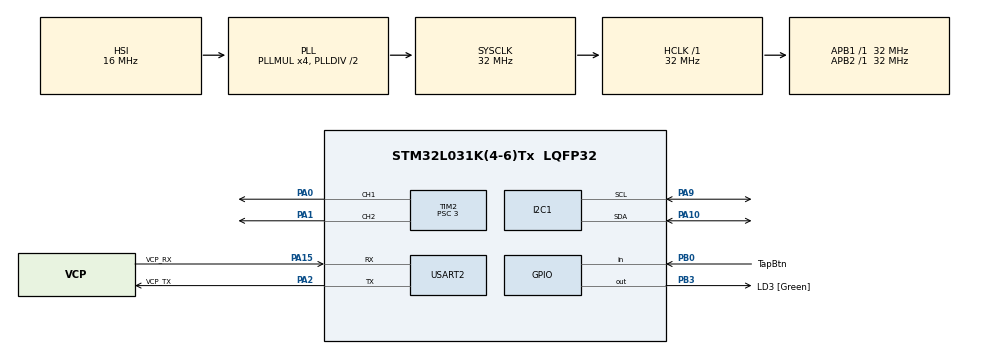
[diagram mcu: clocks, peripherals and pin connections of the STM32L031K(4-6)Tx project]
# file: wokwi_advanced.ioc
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I2C1.Timing=0x00B07CB4
Mcu.Family=STM32L0
Mcu.Name=STM32L031K(4-6)Tx
Mcu.Package=LQFP32
PA0-CK_IN.Signal=S_TIM2_CH1
PA1.Signal=S_TIM2_CH2
PA10.GPIO_Pu=GPIO_PULLUP
PA10.Mode=I2C
PA10.Signal=I2C1_SDA
PA13.GPIO_Label=TMS
PA13.Mode=Serial_Wire
PA13.Signal=SYS_SWDIO
PA14.GPIO_Label=TCK
PA14.Mode=Serial_Wire
PA14.Signal=SYS_SWCLK
PA15.GPIO_Label=VCP_RX
PA15.Mode=Asynchronous
PA15.Signal=USART2_RX
PA2.GPIO_Label=VCP_TX
PA2.Mode=Asynchronous
PA2.Signal=USART2_TX
PA9.GPIO_Pu=GPIO_PULLUP
PA9.Mode=I2C
PA9.Signal=I2C1_SCL
PB0.GPIO_Label=TapBtn
PB0.GPIO_PuPd=GPIO_PULLUP
PB0.Signal=GPIO_Input
PB3.GPIO_Label=LD3 [Green]
PB3.Signal=GPIO_Output
PC14-OSC32_IN.Mode=LSE-External-Oscillator
PC14-OSC32_IN.Signal=RCC_OSC32_IN
PC15-OSC32_OUT.Mode=LSE-External-Oscillator
PC15-OSC32_OUT.Signal=RCC_OSC32_OUT
ProjectManager.HeapSize=0x200
ProjectManager.StackSize=0x400
ProjectManager.TargetToolchain=Makefile
RCC.AHBFreq_Value=32000000
RCC.APB1Freq_Value=32000000
RCC.APB1TimFreq_Value=32000000
RCC.APB2Freq_Value=32000000
RCC.APB2TimFreq_Value=32000000
RCC.HCLKFreq_Value=32000000
RCC.HSE_VALUE=8000000
RCC.HSI16_VALUE=16000000
RCC.HSI48_VALUE=48000000
RCC.HSI_VALUE=16000000
RCC.MSI_VALUE=2097000
RCC.PLLMUL=RCC_PLLMUL_4
RCC.SYSCLKFreq_VALUE=32000000
RCC.SYSCLKSource=RCC_SYSCLKSOURCE_PLLCLK
RCC.VCOOutputFreq_Value=64000000
SH.S_TIM2_CH1.0=TIM2_CH1,PWM Generation1 CH1
SH.S_TIM2_CH2.0=TIM2_CH2,PWM Generation2 CH2
TIM2.Channel-PWM\ Generation1\ CH1=TIM_CHANNEL_1
TIM2.Channel-PWM\ Generation2\ CH2=TIM_CHANNEL_2
TIM2.Period=53300
TIM2.Prescaler=3
USART2.VirtualMode-Asynchronous=VM_ASYNC
board=NUCLEO-L031K6

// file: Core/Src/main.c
/* USER CODE BEGIN Header */
/**
  ******************************************************************************
  * @file           : main.c
  * @brief          : Main program body
  ******************************************************************************
  * @attention
  *
  * Copyright (c) 2024 STMicroelectronics.
  * All rights reserved.
  *
  * This software is licensed under terms that can be found in the LICENSE file
  * in the root directory of this software component.
  * If no LICENSE file comes with this software, it is provided AS-IS.
  *
  ******************************************************************************
  */
/* USER CODE END Header */
#include "main.h"

/* USER CODE BEGIN Includes */
#include <stdint.h>
#include <string.h>
#include <stdlib.h>
#include <stdio.h>
#include "application_MainMajor.h"
/* USER CODE END Includes */

/* USER CODE BEGIN PD */
#define MAX_CMD_LEN 32
#define MAX_NUM_ARGS 10
#define MPU6050_ADDR 0x68
/* USER CODE END PD */

void SystemClock_Config(void);
static void MX_GPIO_Init(void);
static void MX_I2C1_Init(void);
static void MX_TIM2_Init(void);
static void MX_USART2_UART_Init(void);

/* USER CODE BEGIN 0 */

// Returns elapsed system time in milliseconds.
//
uint32_t getMillis(void)
{
  return HAL_GetTick();
}

// Read the current x/y/z values (in units of g) from the attached accelerometer.
// Values should not include acceleration due to gravity.
//
void readAccel_gs(double* x, double* y, double* z)
{
  uint8_t buffer[6];
  // buffer = { XOUT_H, XOUT_L, YOUT_H, YOUT_L, ZOUT_H, ZOUT_L }
  // Transmit register address first??
  //HAL_I2C_Master_Receive(&hi2c1, MPU6050_ADDR << 1, buffer, 6, HAL_MAX_DELAY);

  // Read AFSEL
  uint8_t AFSEL = 0;
  // Transmit AFSEL address first??
  //HAL_I2C_Master_Receive(&hi2c1, MPU6050_ADDR << 1, buffer, 6, HAL_MAX_DELAY);
  AFSEL = (AFSEL & 0x14) >> 3;

  // Accel values = (int)((H << 8)|L) scale to full range (use AFSEL) convert to double p
  // x = (double)((XOUT_H << 8) | XOUT_L);
  // y = (double)((YOUT_H << 8) | YOUT_L);
  // z = (double)((ZOUT_H << 8) | ZOUT_L);
}

// Set the motor speed from 0 to MAX using double value from 0 to 1.0.
//
void setMotorSpeed(double speed)
{
  // Servo motor pulses: [1, 2] ms
  // Formula is Timer CCR = 1 ms + speed (in ms)
  // Frequency is 5 ms, so 1 ms = 65535/5 = 13107
  //TIM2_CCR1 = (uint16_t)(13107 * (1.0 + speed));
  LL_TIM_OC_SetCompareCH1(TIM2, (uint32_t)(13107 * (1.0 + speed)));
}

// Set the LED brightness using double value from 0 to 1.0.
//
void setLED(double brightness)
{
  //TIM2_CCR2 = (uint16_t)(brightness * 65535);
  LL_TIM_OC_SetCompareCH2(TIM2, (uint32_t)(brightness * 65535));
}

// Display a NUL-terminated string to the user
//
void display(const char * msg)
{
  while(*msg)
  {
    while(!LL_USART_IsActiveFlag_TXE(USART2));
    LL_USART_TransmitData8(USART2, *msg++);
  }
}

void parseString_sim(char * buffer, uint8_t * argc, char ** argv, uint8_t sizeof_argv)
{
    char *rest;
    char *token = strtok_r(buffer, " \n", &rest);
    while (token != NULL && *argc <= sizeof_argv) {
        argv[(*argc)++] = token;
        token = strtok_r(NULL, " \n", &rest);
    }
}

void processCommand_sim(char * cmd_string)
{
    uint8_t argc = 0;
    char* argv[MAX_NUM_ARGS] = {0};

    parseString_sim(cmd_string, &argc, argv, MAX_NUM_ARGS);

    if(strcmp(argv[0],"led") == 0) setLED(atof(argv[1]));
    else if(strcmp(argv[0],"speed") == 0) setMotorSpeed(atof(argv[1]));
    else if(strcmp(argv[0],"read") == 0)
    {
      const uint8_t max_num_data_bytes = 32;
      uint8_t reg = atoi(argv[1]);
      uint8_t num_bytes = (argc <= 2) ? 1 :
                          atoi(argv[2]) < max_num_data_bytes ? atoi(argv[2]) : max_num_data_bytes;
      uint8_t data[32] = {0};

      //HAL_I2C_Master_Transmit(&hi2c1, MPU6050_ADDR << 1, &reg, 1, HAL_MAX_DELAY);
      //HAL_I2C_Master_Receive(&hi2c1, MPU6050_ADDR << 1, data, num_bytes, HAL_MAX_DELAY);

      display("Data received:\n");
      char msg[32] = {0};
      for(uint8_t idx = 0; idx < num_bytes; idx++)
      {
        snprintf(msg, 31, "\t[%x] = %x\n", reg+idx, data[idx]);
        display(msg);
        memset(msg, 0, 32);
      }
    }
    else display((const char*)"Unknown command\n");
}
/* USER CODE END 0 */

int main(void)
{

  /* MCU Configuration--------------------------------------------------------*/

  /* Reset of all peripherals, Initializes the Flash interface and the Systick. */
  HAL_Init();

  /* Configure the system clock */
  SystemClock_Config();

  /* Initialize all configured peripherals */
  MX_GPIO_Init();
  MX_I2C1_Init();
  MX_TIM2_Init();
  MX_USART2_UART_Init();

  /* Infinite loop */
  /* USER CODE BEGIN WHILE */
  while (1)
  {
    runTheApplication();

    // Check the tap button
    typedef enum btn_status_t { NOT_PRESSED = 0, PRESSED } btn_status_t;
    static btn_status_t old_btn_status = NOT_PRESSED;
    btn_status_t current_status = LL_GPIO_IsInputPinSet(TapBtn_GPIO_Port, TapBtn_Pin);
    if((old_btn_status == NOT_PRESSED) && (current_status == PRESSED)) accelDoubleTapCallback();
    old_btn_status = current_status;

    // Process command-line input
    if(LL_USART_IsActiveFlag_RXNE(USART2))
    {
      static enum { START, APP_CMD, SIM_CMD } command_type_t = START;
      static char buffer[MAX_CMD_LEN] = {0};
      static uint8_t idx = 0;

      char c = LL_USART_ReceiveData8(USART2);

      if(command_type_t == START)
      {
        if(c == 'l' || c == 's' || c == 'r') command_type_t = SIM_CMD;
        else command_type_t = APP_CMD;
      }

      switch(command_type_t)
      {
        case APP_CMD:
          charReceivedCallback(c);
          if(c == '\n') command_type_t = START;
          break;
        case SIM_CMD:
          // Build string
          buffer[idx++] = c;
          if(c == '\n' || idx == MAX_CMD_LEN - 1)
          {
            processCommand_sim(buffer);
            command_type_t = START;
            idx = 0;
            memset(buffer, 0, MAX_CMD_LEN);
          }
          break;
      }
    }
    /* USER CODE END WHILE */

  }
}

void SystemClock_Config(void)
{
  RCC_OscInitTypeDef RCC_OscInitStruct = {0};
  RCC_ClkInitTypeDef RCC_ClkInitStruct = {0};
  RCC_PeriphCLKInitTypeDef PeriphClkInit = {0};

  /** Configure the main internal regulator output voltage
  */
  __HAL_PWR_VOLTAGESCALING_CONFIG(PWR_REGULATOR_VOLTAGE_SCALE1);

  /** Initializes the RCC Oscillators according to the specified parameters
  * in the RCC_OscInitTypeDef structure.
  */
  RCC_OscInitStruct.OscillatorType = RCC_OSCILLATORTYPE_HSI;
  RCC_OscInitStruct.HSIState = RCC_HSI_ON;
  RCC_OscInitStruct.HSICalibrationValue = RCC_HSICALIBRATION_DEFAULT;
  RCC_OscInitStruct.PLL.PLLState = RCC_PLL_ON;
  RCC_OscInitStruct.PLL.PLLSource = RCC_PLLSOURCE_HSI;
  RCC_OscInitStruct.PLL.PLLMUL = RCC_PLLMUL_4;
  RCC_OscInitStruct.PLL.PLLDIV = RCC_PLLDIV_2;
  if (HAL_RCC_OscConfig(&RCC_OscInitStruct) != HAL_OK)
  {
    Error_Handler();
  }

  /** Initializes the CPU, AHB and APB buses clocks
  */
  RCC_ClkInitStruct.ClockType = RCC_CLOCKTYPE_HCLK|RCC_CLOCKTYPE_SYSCLK
                              |RCC_CLOCKTYPE_PCLK1|RCC_CLOCKTYPE_PCLK2;
  RCC_ClkInitStruct.SYSCLKSource = RCC_SYSCLKSOURCE_PLLCLK;
  RCC_ClkInitStruct.AHBCLKDivider = RCC_SYSCLK_DIV1;
  RCC_ClkInitStruct.APB1CLKDivider = RCC_HCLK_DIV1;
  RCC_ClkInitStruct.APB2CLKDivider = RCC_HCLK_DIV1;

  if (HAL_RCC_ClockConfig(&RCC_ClkInitStruct, FLASH_LATENCY_1) != HAL_OK)
  {
    Error_Handler();
  }
  PeriphClkInit.PeriphClockSelection = RCC_PERIPHCLK_USART2|RCC_PERIPHCLK_I2C1;
  PeriphClkInit.Usart2ClockSelection = RCC_USART2CLKSOURCE_PCLK1;
  PeriphClkInit.I2c1ClockSelection = RCC_I2C1CLKSOURCE_PCLK1;
  if (HAL_RCCEx_PeriphCLKConfig(&PeriphClkInit) != HAL_OK)
  {
    Error_Handler();
  }
}

static void MX_I2C1_Init(void)
{

  LL_I2C_InitTypeDef I2C_InitStruct = {0};

  LL_GPIO_InitTypeDef GPIO_InitStruct = {0};

  LL_IOP_GRP1_EnableClock(LL_IOP_GRP1_PERIPH_GPIOA);
  /**I2C1 GPIO Configuration
  PA9   ------> I2C1_SCL
  PA10   ------> I2C1_SDA
  */
  GPIO_InitStruct.Pin = LL_GPIO_PIN_9;
  GPIO_InitStruct.Mode = LL_GPIO_MODE_ALTERNATE;
  GPIO_InitStruct.Speed = LL_GPIO_SPEED_FREQ_VERY_HIGH;
  GPIO_InitStruct.OutputType = LL_GPIO_OUTPUT_OPENDRAIN;
  GPIO_InitStruct.Pull = LL_GPIO_PULL_UP;
  GPIO_InitStruct.Alternate = LL_GPIO_AF_1;
  LL_GPIO_Init(GPIOA, &GPIO_InitStruct);

  GPIO_InitStruct.Pin = LL_GPIO_PIN_10;
  GPIO_InitStruct.Mode = LL_GPIO_MODE_ALTERNATE;
  GPIO_InitStruct.Speed = LL_GPIO_SPEED_FREQ_VERY_HIGH;
  GPIO_InitStruct.OutputType = LL_GPIO_OUTPUT_OPENDRAIN;
  GPIO_InitStruct.Pull = LL_GPIO_PULL_UP;
  GPIO_InitStruct.Alternate = LL_GPIO_AF_1;
  LL_GPIO_Init(GPIOA, &GPIO_InitStruct);

  /* Peripheral clock enable */
  LL_APB1_GRP1_EnableClock(LL_APB1_GRP1_PERIPH_I2C1);

  /** I2C Initialization
  */
  LL_I2C_EnableAutoEndMode(I2C1);
  LL_I2C_DisableOwnAddress2(I2C1);
  LL_I2C_DisableGeneralCall(I2C1);
  LL_I2C_EnableClockStretching(I2C1);
  I2C_InitStruct.PeripheralMode = LL_I2C_MODE_I2C;
  I2C_InitStruct.Timing = 0x00B07CB4;
  I2C_InitStruct.AnalogFilter = LL_I2C_ANALOGFILTER_ENABLE;
  I2C_InitStruct.DigitalFilter = 0;
  I2C_InitStruct.OwnAddress1 = 0;
  I2C_InitStruct.TypeAcknowledge = LL_I2C_ACK;
  I2C_InitStruct.OwnAddrSize = LL_I2C_OWNADDRESS1_7BIT;
  LL_I2C_Init(I2C1, &I2C_InitStruct);
  LL_I2C_SetOwnAddress2(I2C1, 0, LL_I2C_OWNADDRESS2_NOMASK);

}

static void MX_TIM2_Init(void)
{

  LL_TIM_InitTypeDef TIM_InitStruct = {0};
  LL_TIM_OC_InitTypeDef TIM_OC_InitStruct = {0};

  LL_GPIO_InitTypeDef GPIO_InitStruct = {0};

  /* Peripheral clock enable */
  LL_APB1_GRP1_EnableClock(LL_APB1_GRP1_PERIPH_TIM2);

  TIM_InitStruct.Prescaler = 3;
  TIM_InitStruct.CounterMode = LL_TIM_COUNTERMODE_UP;
  TIM_InitStruct.Autoreload = 53300;
  TIM_InitStruct.ClockDivision = LL_TIM_CLOCKDIVISION_DIV1;
  LL_TIM_Init(TIM2, &TIM_InitStruct);
  LL_TIM_DisableARRPreload(TIM2);
  LL_TIM_OC_EnablePreload(TIM2, LL_TIM_CHANNEL_CH1);
  TIM_OC_InitStruct.OCMode = LL_TIM_OCMODE_PWM1;
  TIM_OC_InitStruct.OCState = LL_TIM_OCSTATE_DISABLE;
  TIM_OC_InitStruct.CompareValue = 0;
  TIM_OC_InitStruct.OCPolarity = LL_TIM_OCPOLARITY_HIGH;
  LL_TIM_OC_Init(TIM2, LL_TIM_CHANNEL_CH1, &TIM_OC_InitStruct);
  LL_TIM_OC_DisableFast(TIM2, LL_TIM_CHANNEL_CH1);
  LL_TIM_OC_EnablePreload(TIM2, LL_TIM_CHANNEL_CH2);
  LL_TIM_OC_Init(TIM2, LL_TIM_CHANNEL_CH2, &TIM_OC_InitStruct);
  LL_TIM_OC_DisableFast(TIM2, LL_TIM_CHANNEL_CH2);
  LL_TIM_SetTriggerOutput(TIM2, LL_TIM_TRGO_RESET);
  LL_TIM_DisableMasterSlaveMode(TIM2);
  LL_IOP_GRP1_EnableClock(LL_IOP_GRP1_PERIPH_GPIOA);
  /**TIM2 GPIO Configuration
  PA0-CK_IN   ------> TIM2_CH1
  PA1   ------> TIM2_CH2
  */
  GPIO_InitStruct.Pin = LL_GPIO_PIN_0;
  GPIO_InitStruct.Mode = LL_GPIO_MODE_ALTERNATE;
  GPIO_InitStruct.Speed = LL_GPIO_SPEED_FREQ_LOW;
  GPIO_InitStruct.OutputType = LL_GPIO_OUTPUT_PUSHPULL;
  GPIO_InitStruct.Pull = LL_GPIO_PULL_NO;
  GPIO_InitStruct.Alternate = LL_GPIO_AF_2;
  LL_GPIO_Init(GPIOA, &GPIO_InitStruct);

  GPIO_InitStruct.Pin = LL_GPIO_PIN_1;
  GPIO_InitStruct.Mode = LL_GPIO_MODE_ALTERNATE;
  GPIO_InitStruct.Speed = LL_GPIO_SPEED_FREQ_LOW;
  GPIO_InitStruct.OutputType = LL_GPIO_OUTPUT_PUSHPULL;
  GPIO_InitStruct.Pull = LL_GPIO_PULL_NO;
  GPIO_InitStruct.Alternate = LL_GPIO_AF_2;
  LL_GPIO_Init(GPIOA, &GPIO_InitStruct);

}

static void MX_USART2_UART_Init(void)
{

  LL_USART_InitTypeDef USART_InitStruct = {0};

  LL_GPIO_InitTypeDef GPIO_InitStruct = {0};

  /* Peripheral clock enable */
  LL_APB1_GRP1_EnableClock(LL_APB1_GRP1_PERIPH_USART2);

  LL_IOP_GRP1_EnableClock(LL_IOP_GRP1_PERIPH_GPIOA);
  /**USART2 GPIO Configuration
  PA2   ------> USART2_TX
  PA15   ------> USART2_RX
  */
  GPIO_InitStruct.Pin = VCP_TX_Pin;
  GPIO_InitStruct.Mode = LL_GPIO_MODE_ALTERNATE;
  GPIO_InitStruct.Speed = LL_GPIO_SPEED_FREQ_VERY_HIGH;
  GPIO_InitStruct.OutputType = LL_GPIO_OUTPUT_PUSHPULL;
  GPIO_InitStruct.Pull = LL_GPIO_PULL_NO;
  GPIO_InitStruct.Alternate = LL_GPIO_AF_4;
  LL_GPIO_Init(VCP_TX_GPIO_Port, &GPIO_InitStruct);

  GPIO_InitStruct.Pin = VCP_RX_Pin;
  GPIO_InitStruct.Mode = LL_GPIO_MODE_ALTERNATE;
  GPIO_InitStruct.Speed = LL_GPIO_SPEED_FREQ_VERY_HIGH;
  GPIO_InitStruct.OutputType = LL_GPIO_OUTPUT_PUSHPULL;
  GPIO_InitStruct.Pull = LL_GPIO_PULL_NO;
  GPIO_InitStruct.Alternate = LL_GPIO_AF_4;
  LL_GPIO_Init(VCP_RX_GPIO_Port, &GPIO_InitStruct);

  USART_InitStruct.BaudRate = 115200;
  USART_InitStruct.DataWidth = LL_USART_DATAWIDTH_8B;
  USART_InitStruct.StopBits = LL_USART_STOPBITS_1;
  USART_InitStruct.Parity = LL_USART_PARITY_NONE;
  USART_InitStruct.TransferDirection = LL_USART_DIRECTION_TX_RX;
  USART_InitStruct.HardwareFlowControl = LL_USART_HWCONTROL_NONE;
  USART_InitStruct.OverSampling = LL_USART_OVERSAMPLING_16;
  LL_USART_Init(USART2, &USART_InitStruct);
  LL_USART_ConfigAsyncMode(USART2);
  LL_USART_Enable(USART2);

}

static void MX_GPIO_Init(void)
{
  LL_GPIO_InitTypeDef GPIO_InitStruct = {0};

  /* GPIO Ports Clock Enable */
  LL_IOP_GRP1_EnableClock(LL_IOP_GRP1_PERIPH_GPIOC);
  LL_IOP_GRP1_EnableClock(LL_IOP_GRP1_PERIPH_GPIOA);
  LL_IOP_GRP1_EnableClock(LL_IOP_GRP1_PERIPH_GPIOB);

  /**/
  LL_GPIO_ResetOutputPin(LD3_GPIO_Port, LD3_Pin);

  /**/
  GPIO_InitStruct.Pin = TapBtn_Pin;
  GPIO_InitStruct.Mode = LL_GPIO_MODE_INPUT;
  GPIO_InitStruct.Pull = LL_GPIO_PULL_UP;
  LL_GPIO_Init(TapBtn_GPIO_Port, &GPIO_InitStruct);

  /**/
  GPIO_InitStruct.Pin = LD3_Pin;
  GPIO_InitStruct.Mode = LL_GPIO_MODE_OUTPUT;
  GPIO_InitStruct.Speed = LL_GPIO_SPEED_FREQ_LOW;
  GPIO_InitStruct.OutputType = LL_GPIO_OUTPUT_PUSHPULL;
  GPIO_InitStruct.Pull = LL_GPIO_PULL_NO;
  LL_GPIO_Init(LD3_GPIO_Port, &GPIO_InitStruct);

}

void Error_Handler(void)
{
  __disable_irq();
  while (1)
  {
  }
}
